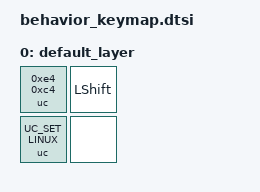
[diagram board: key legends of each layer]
#include <behaviors/unicode.dtsi>
#include <dt-bindings/zmk/keys.h>
#include <behaviors.dtsi>
#include <dt-bindings/zmk/kscan_mock.h>

/ {
    keymap {
        compatible = "zmk,keymap";
        default_layer {
            bindings = <
                &uc 0xe4 0xc4 &kp LSHFT
                &uc UC_SET_LINUX &none
            >;
        };
    };
};
